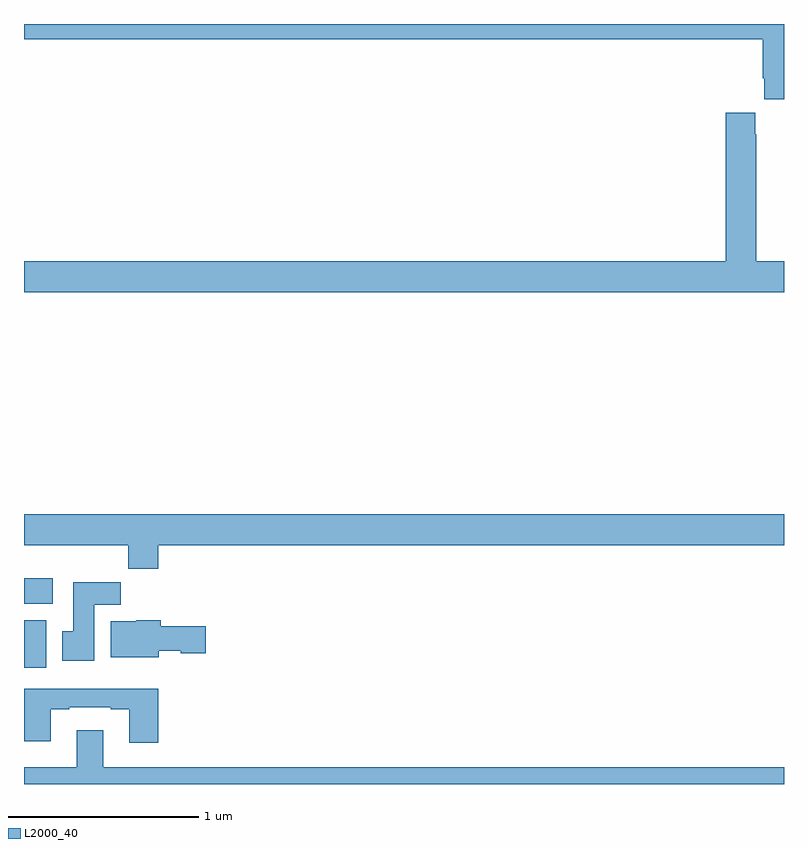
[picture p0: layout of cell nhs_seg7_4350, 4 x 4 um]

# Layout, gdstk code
import gdstk
lib = gdstk.Library(unit=1e-6, precision=1e-09)
def R(c, l, rs):  # rectangles x0, y0, x1, y1
    for r in rs: c.add(gdstk.rectangle(r[:2], r[2:], *l))
def P(c, l, *ps):  # polygons
    for p in ps: c.add(gdstk.Polygon(p, *l))
L2000_40 = (2000, 40)

nhs_seg7_4350 = lib.new_cell('nhs_seg7_4350')
R(nhs_seg7_4350, L2000_40, [(385,1026.612,385.117,1026.862), (385,1026.95,385.15,1027.084)])
P(nhs_seg7_4350, L2000_40, [(389,1030),(385,1030),(385,1029.92),(388.889,1029.92),(388.889,1029.715),(388.895,1029.715),(388.895,1029.603),(389,1029.603)],
  [(389,1028.752),(388.854,1028.752),(388.854,1029.419),(388.849,1029.419),(388.849,1029.532),(388.694,1029.532),(388.694,1028.752),(385,1028.752),(385,1028.588),(389,1028.588)],
  [(385.706,1027.256),(389,1027.256),(389,1027.42),(385,1027.42),(385,1027.256),(385.549,1027.256),(385.549,1027.132),(385.706,1027.132)],
  [(385.369,1026.944),(385.508,1026.944),(385.508,1027.063),(385.259,1027.063),(385.259,1026.804),(385.202,1026.804),(385.202,1026.648),(385.369,1026.648)],
  [(385.708,1026.701),(385.824,1026.701),(385.824,1026.689),(385.957,1026.689),(385.957,1026.831),(385.721,1026.831),(385.721,1026.862),(385.59,1026.862),(385.59,1026.856),(385.457,1026.856),(385.457,1026.668),(385.708,1026.668)],
  [(385.706,1026.502),(385.001,1026.502),(385.001,1026.321),(385,1026.321),(385,1026.224),(385.141,1026.224),(385.141,1026.393),(385.237,1026.393),(385.237,1026.405),(385.457,1026.405),(385.457,1026.393),(385.553,1026.393),(385.553,1026.216),(385.706,1026.216)],
  [(389,1026.088),(385.417,1026.088),(385.417,1026.283),(385.277,1026.283),(385.277,1026.088),(385,1026.088),(385,1026),(389,1026)])

lib.write_gds('nhs_seg7_4350.gds')
